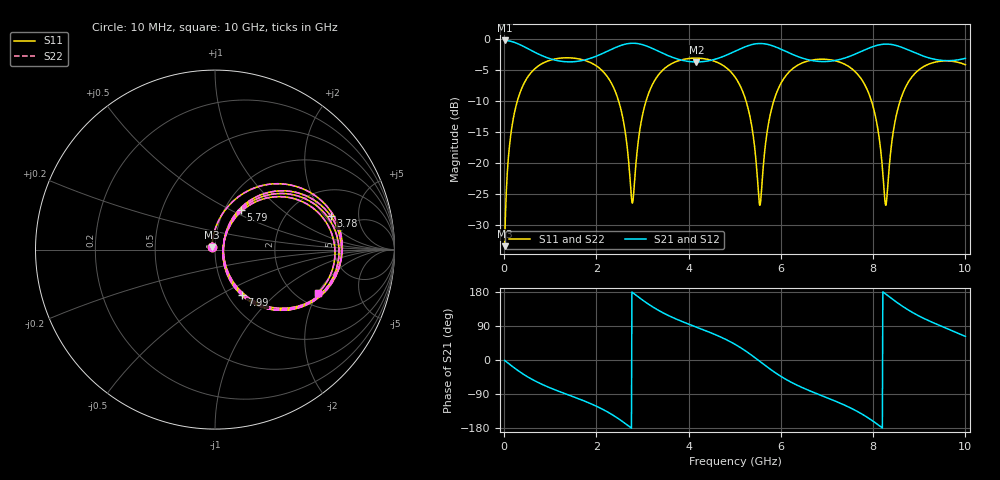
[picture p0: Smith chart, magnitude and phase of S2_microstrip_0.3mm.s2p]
! kicad_em_sim: S-parameters of 2 ports, openEMS
# Hz S RI R 50
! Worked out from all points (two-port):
!   1000 points, 10 MHz to 10 GHz, reference 50 ohm
!   highest |S21| = -0.17 dB at 10 MHz (marker M1); lowest = -3.7 dB at 4.17 GHz (marker M2)
!   |S21| within 3 dB of the highest: 1.824 GHz to 3.756 GHz (1.932 GHz wide, 69.2 % of centre); 7.316 GHz to 9.302 GHz (1.986 GHz wide, 23.9 % of centre)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
!   lowest |S11| = -33.5 dB at 10 MHz (marker M3), VSWR 1.04, Z = 48.3 + j1.18 ohm
!   |S11| at or under -10 dB: 2.483 GHz to 3.076 GHz (593.3 MHz wide, 21.3 % of centre); 5.245 GHz to 5.844 GHz (599.1 MHz wide, 10.8 % of centre); 7.964 GHz to 8.584 GHz (619.6 MHz wide, 7.49 % of centre)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
!   |S22| runs from -33.5 to -3.0 dB; largest |S21 - S12| = 2e-07
!   S11 on the Smith chart (normalised r, x): 10 MHz: 0.97, +0.02; 3.78 GHz: 3.43, +2.32; 5.79 GHz: 1.19, +0.57; 7.99 GHz: 1.16, -0.64; 10 GHz: 2.55, -2.02
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1e7  -0.0173 0.0122  0.9802 -0.0166  0.9802 -0.0166  -0.0173 0.0122
1.5e8  0.0266 0.1741  0.9338 -0.2396  0.9338 -0.2396  0.0266 0.1741
4.1e8  0.2397 0.3504  0.7045 -0.5302  0.7045 -0.5302  0.2397 0.3504
1.02e9  0.6507 0.2054  0.1829 -0.6684  0.1829 -0.6684  0.6507 0.2054
1.68e9  0.6718 -0.1449  -0.1785 -0.6487  -0.1785 -0.6487  0.6718 -0.1449
2.42e9  0.2274 -0.292  -0.7473 -0.4276  -0.7473 -0.4276  0.2274 -0.292
2.78e9  0.0472 -0.000387  -0.9306 0.0278  -0.9306 0.0278  0.0472 -0.000387
3.01e9  0.1301 0.218  -0.8345 0.3476  -0.8345 0.3476  0.1301 0.218
3.34e9  0.3948 0.327  -0.5318 0.6019  -0.5318 0.6019  0.3948 0.327
3.78e9  0.6456 0.1857  -0.1839 0.6649  -0.1839 0.6649  0.6456 0.1857
4.17e9  0.7049 -0.0181  0.0381 0.6554  0.0381 0.6554  0.7049 -0.0181
5.01e9  0.3588 -0.3378  0.6054 0.5273  0.6054 0.5273  0.3588 -0.3378
5.32e9  0.1175 -0.2164  0.8592 0.2565  0.8592 0.2565  0.1175 -0.2164
5.54e9  0.045 -0.00633  0.9245 -0.0544  0.9245 -0.0544  0.045 -0.00633
5.79e9  0.1451 0.223  0.8036 -0.3938  0.8036 -0.3938  0.1451 0.223
6.67e9  0.6728 0.0962  0.0758 -0.6703  0.0758 -0.6703  0.6728 0.0962
7.99e9  0.1481 -0.2535  -0.8237 -0.2878  -0.8237 -0.2878  0.1481 -0.2535
8.26e9  0.0447 -0.0164  -0.9124 0.0774  -0.9124 0.0774  0.0447 -0.0164
8.34e9  0.0558 0.064  -0.8936 0.1938  -0.8936 0.1938  0.0558 0.064
8.51e9  0.1402 0.207  -0.7891 0.4118  -0.7891 0.4118  0.1402 0.207
8.81e9  0.3783 0.2944  -0.5026 0.6311  -0.5026 0.6311  0.3783 0.2944
1e10  0.5745 -0.2416  0.3266 0.6222  0.3266 0.6222  0.5745 -0.2416
